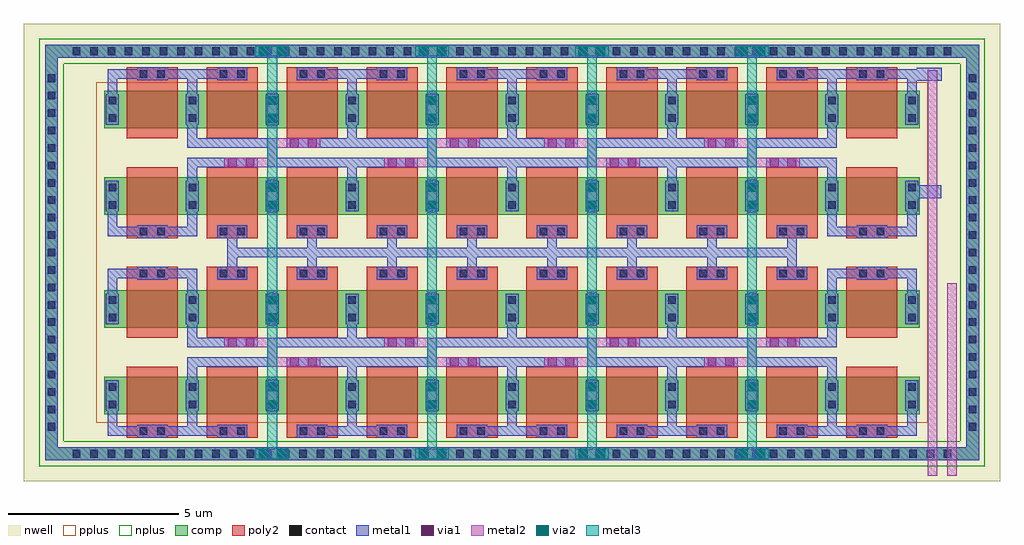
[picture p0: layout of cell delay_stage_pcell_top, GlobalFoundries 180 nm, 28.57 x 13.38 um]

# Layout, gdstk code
from math import pi, radians
import gdstk
lib = gdstk.Library(unit=1e-6, precision=5e-09)
def R(c, l, rs):  # rectangles x0, y0, x1, y1
    for r in rs: c.add(gdstk.rectangle(r[:2], r[2:], *l))
def A(c, l, x, y, w, h, nx, ny, dx, dy):  # array of equal rectangles
    R(c, l, [(x+i*dx, y+j*dy, x+i*dx+w, y+j*dy+h) for i in range(nx) for j in range(ny)])
nwell = (21, 0)
comp = (22, 0)
poly2 = (30, 0)
pplus = (31, 0)
nplus = (32, 0)
contact = (33, 0)
metal1 = (34, 0)
via1 = (35, 0)
metal2 = (36, 0)
via2 = (38, 0)
metal3 = (42, 0)

pfet = lib.new_cell('pfet')

delay_stage_pcell_1_2_1 = lib.new_cell('delay_stage_pcell_1$2$1')
R(delay_stage_pcell_1_2_1, comp, [(0.17,0.3,0.63,1.4), (0.63,0.3,2.51,1.4), (2.51,0.3,2.97,1.4)])
R(delay_stage_pcell_1_2_1, poly2, [(0.82,0,2.32,1.7)])
R(delay_stage_pcell_1_2_1, contact, [(0.29,0.485,0.51,0.705), (2.63,0.485,2.85,0.705), (0.29,0.995,0.51,1.215), (2.63,0.995,2.85,1.215)])
R(delay_stage_pcell_1_2_1, metal1, [(0.21,0.405,0.59,1.295), (2.55,0.405,2.93,1.295)])

delay_stage_pcell_4_2 = lib.new_cell('delay_stage_pcell_4$2')
delay_stage_pcell_4_2.add(gdstk.Reference(delay_stage_pcell_1_2_1, (-0.17,0)))
delay_stage_pcell_4_2.add(gdstk.Reference(delay_stage_pcell_1_2_1, (2.17,0)))
delay_stage_pcell_4_2.add(gdstk.Reference(delay_stage_pcell_1_2_1, (4.51,0)))
delay_stage_pcell_4_2.add(gdstk.Reference(delay_stage_pcell_1_2_1, (6.85,0)))

delay_stage_pcell_4_4 = lib.new_cell('delay_stage_pcell_4_4')
R(delay_stage_pcell_4_4, poly2, [(0.65,0,2.15,0.38), (0.65,0,2.15,0.38), (2.99,0,4.49,0.38), (2.99,0,4.49,0.38), (5.33,0,6.83,0.38), (5.33,0,6.83,0.38), (7.67,0,9.17,0.38), (7.67,0,9.17,0.38), (0.65,4.62,2.15,5), (0.65,4.62,2.15,5), (2.99,4.62,4.49,5), (2.99,4.62,4.49,5), (5.33,4.62,6.83,5), (5.33,4.62,6.83,5), (7.67,4.62,9.17,5), (7.67,4.62,9.17,5), (0.65,5.84,2.15,6.22), (0.65,5.84,2.15,6.22), (2.99,5.84,4.49,6.22), (2.99,5.84,4.49,6.22), (5.33,5.84,6.83,6.22), (5.33,5.84,6.83,6.22), (7.67,5.84,9.17,6.22), (7.67,5.84,9.17,6.22), (0.65,10.46,2.15,10.84), (0.65,10.46,2.15,10.84), (2.99,10.46,4.49,10.84), (2.99,10.46,4.49,10.84), (5.33,10.46,6.83,10.84), (5.33,10.46,6.83,10.84), (7.67,10.46,9.17,10.84), (7.67,10.46,9.17,10.84)])
R(delay_stage_pcell_4_4, contact, [(1.035,0.08,1.255,0.3), (1.035,0.08,1.255,0.3), (1.545,0.08,1.765,0.3), (1.545,0.08,1.765,0.3), (3.375,0.08,3.595,0.3), (3.375,0.08,3.595,0.3), (3.885,0.08,4.105,0.3), (3.885,0.08,4.105,0.3), (5.715,0.08,5.935,0.3), (5.715,0.08,5.935,0.3), (6.225,0.08,6.445,0.3), (6.225,0.08,6.445,0.3), (8.055,0.08,8.275,0.3), (8.055,0.08,8.275,0.3), (8.565,0.08,8.785,0.3), (8.565,0.08,8.785,0.3), (1.035,4.7,1.255,4.92), (1.035,4.7,1.255,4.92), (1.545,4.7,1.765,4.92), (1.545,4.7,1.765,4.92), (3.375,4.7,3.595,4.92), (3.375,4.7,3.595,4.92), (3.885,4.7,4.105,4.92), (3.885,4.7,4.105,4.92), (5.715,4.7,5.935,4.92), (5.715,4.7,5.935,4.92), (6.225,4.7,6.445,4.92), (6.225,4.7,6.445,4.92), (8.055,4.7,8.275,4.92), (8.055,4.7,8.275,4.92), (8.565,4.7,8.785,4.92), (8.565,4.7,8.785,4.92), (1.035,5.92,1.255,6.14), (1.035,5.92,1.255,6.14), (1.545,5.92,1.765,6.14), (1.545,5.92,1.765,6.14), (3.375,5.92,3.595,6.14), (3.375,5.92,3.595,6.14), (3.885,5.92,4.105,6.14), (3.885,5.92,4.105,6.14), (5.715,5.92,5.935,6.14), (5.715,5.92,5.935,6.14), (6.225,5.92,6.445,6.14), (6.225,5.92,6.445,6.14), (8.055,5.92,8.275,6.14), (8.055,5.92,8.275,6.14), (8.565,5.92,8.785,6.14), (8.565,5.92,8.785,6.14), (1.035,10.54,1.255,10.76), (1.035,10.54,1.255,10.76), (1.545,10.54,1.765,10.76), (1.545,10.54,1.765,10.76), (3.375,10.54,3.595,10.76), (3.375,10.54,3.595,10.76), (3.885,10.54,4.105,10.76), (3.885,10.54,4.105,10.76), (5.715,10.54,5.935,10.76), (5.715,10.54,5.935,10.76), (6.225,10.54,6.445,10.76), (6.225,10.54,6.445,10.76), (8.055,10.54,8.275,10.76), (8.055,10.54,8.275,10.76), (8.565,10.54,8.785,10.76), (8.565,10.54,8.785,10.76)])
R(delay_stage_pcell_4_4, metal1, [(0.955,0,1.845,0.38), (3.295,0,4.185,0.38), (3.295,0,4.185,0.38), (5.635,0,6.525,0.38), (5.635,0,6.525,0.38), (7.975,0,8.865,0.38), (0.955,4.62,1.845,5), (0.955,4.62,1.845,5), (3.295,4.62,4.185,5), (3.295,4.62,4.185,5), (5.635,4.62,6.525,5), (5.635,4.62,6.525,5), (7.975,4.62,8.865,5), (0.955,5.84,1.845,6.22), (0.955,5.84,1.845,6.22), (3.295,5.84,4.185,6.22), (3.295,5.84,4.185,6.22), (5.635,5.84,6.525,6.22), (5.635,5.84,6.525,6.22), (7.975,5.84,8.865,6.22), (7.975,5.84,8.865,6.22), (0.955,10.46,1.845,10.84), (3.295,10.46,4.185,10.84), (3.295,10.46,4.185,10.84), (5.635,10.46,6.525,10.84), (5.635,10.46,6.525,10.84), (7.975,10.46,8.865,10.84)])
R(delay_stage_pcell_4_4, via1, [(2.44,0.84,2.7,1.1), (7.12,0.84,7.38,1.1), (2.44,1.36,2.7,1.62), (7.12,1.36,7.38,1.62), (1.27,2.09,1.53,2.35), (1.27,2.09,1.53,2.35), (1.79,2.09,2.05,2.35), (1.79,2.09,2.05,2.35), (5.95,2.09,6.21,2.35), (5.95,2.09,6.21,2.35), (6.47,2.09,6.73,2.35), (6.47,2.09,6.73,2.35), (3.09,2.65,3.35,2.91), (3.09,2.65,3.35,2.91), (3.61,2.65,3.87,2.91), (3.61,2.65,3.87,2.91), (7.77,2.65,8.03,2.91), (7.77,2.65,8.03,2.91), (8.29,2.65,8.55,2.91), (8.29,2.65,8.55,2.91), (2.44,3.38,2.7,3.64), (7.12,3.38,7.38,3.64), (2.44,3.9,2.7,4.16), (7.12,3.9,7.38,4.16), (2.44,6.68,2.7,6.94), (7.12,6.68,7.38,6.94), (2.44,7.2,2.7,7.46), (7.12,7.2,7.38,7.46), (3.09,7.93,3.35,8.19), (3.09,7.93,3.35,8.19), (3.61,7.93,3.87,8.19), (3.61,7.93,3.87,8.19), (7.77,7.93,8.03,8.19), (7.77,7.93,8.03,8.19), (8.29,7.93,8.55,8.19), (8.29,7.93,8.55,8.19), (1.27,8.49,1.53,8.75), (1.27,8.49,1.53,8.75), (1.79,8.49,2.05,8.75), (1.79,8.49,2.05,8.75), (5.95,8.49,6.21,8.75), (5.95,8.49,6.21,8.75), (6.47,8.49,6.73,8.75), (6.47,8.49,6.73,8.75), (2.44,9.22,2.7,9.48), (7.12,9.22,7.38,9.48), (2.44,9.74,2.7,10), (7.12,9.74,7.38,10)])
R(delay_stage_pcell_4_4, via2, [(2.44,0.84,2.7,1.1), (7.12,0.84,7.38,1.1), (2.44,1.36,2.7,1.62), (7.12,1.36,7.38,1.62), (2.44,3.38,2.7,3.64), (7.12,3.38,7.38,3.64), (2.44,3.9,2.7,4.16), (7.12,3.9,7.38,4.16), (2.44,6.68,2.7,6.94), (7.12,6.68,7.38,6.94), (2.44,7.2,2.7,7.46), (7.12,7.2,7.38,7.46), (2.44,9.22,2.7,9.48), (7.12,9.22,7.38,9.48), (2.44,9.74,2.7,10), (7.12,9.74,7.38,10)])
delay_stage_pcell_4_4.add(gdstk.FlexPath([(8.56,5.42),(0.23,5.42)], 0.28, ends="flush", simple_path=True, layer=34, datatype=0))  # metal1
delay_stage_pcell_4_4.add(gdstk.FlexPath([(4.185,10.65),(5.635,10.65)], 0.28, ends="flush", simple_path=True, layer=34, datatype=0))  # metal1
delay_stage_pcell_4_4.add(gdstk.FlexPath([(4.91,10.055),(4.91,10.51)], 0.28, ends="flush", simple_path=True, layer=34, datatype=0))  # metal1
delay_stage_pcell_4_4.add(gdstk.FlexPath([(0.955,10.65),(0.23,10.65),(0.23,10.055)], 0.28, ends="flush", simple_path=True, layer=34, datatype=0))  # metal1
delay_stage_pcell_4_4.add(gdstk.FlexPath([(8.865,10.65),(9.59,10.65),(9.59,10.055)], 0.28, ends="flush", simple_path=True, layer=34, datatype=0))  # metal1
delay_stage_pcell_4_4.add(gdstk.FlexPath([(4.185,0.19),(5.635,0.19)], 0.28, ends="flush", simple_path=True, layer=34, datatype=0))  # metal1
delay_stage_pcell_4_4.add(gdstk.FlexPath([(4.91,0.785),(4.91,0.33)], 0.28, ends="flush", simple_path=True, layer=34, datatype=0))  # metal1
delay_stage_pcell_4_4.add(gdstk.FlexPath([(0.955,0.19),(0.23,0.19),(0.23,0.785)], 0.28, ends="flush", simple_path=True, layer=34, datatype=0))  # metal1
delay_stage_pcell_4_4.add(gdstk.FlexPath([(8.865,0.19),(9.59,0.19),(9.59,0.785)], 0.28, ends="flush", simple_path=True, layer=34, datatype=0))  # metal1
delay_stage_pcell_4_4.add(gdstk.FlexPath([(9.59,1.675),(9.59,2.22),(8.65,2.22)], 0.28, ends="flush", simple_path=True, layer=34, datatype=0))  # metal1
delay_stage_pcell_4_4.add(gdstk.FlexPath([(9.59,1.675),(9.59,2.22),(8.65,2.22)], 0.28, ends="flush", simple_path=True, layer=34, datatype=0))  # metal1
delay_stage_pcell_4_4.add(gdstk.FlexPath([(4.91,1.675),(4.91,2.08)], 0.28, ends="flush", simple_path=True, layer=34, datatype=0))  # metal1
delay_stage_pcell_4_4.add(gdstk.FlexPath([(4.91,1.675),(4.91,2.08)], 0.28, ends="flush", simple_path=True, layer=34, datatype=0))  # metal1
delay_stage_pcell_4_4.add(gdstk.FlexPath([(0.23,1.675),(0.23,2.22),(1.17,2.22)], 0.28, ends="flush", simple_path=True, layer=34, datatype=0))  # metal1
delay_stage_pcell_4_4.add(gdstk.FlexPath([(0.23,1.675),(0.23,2.22),(1.17,2.22)], 0.28, ends="flush", simple_path=True, layer=34, datatype=0))  # metal1
delay_stage_pcell_4_4.add(gdstk.FlexPath([(8.65,2.22),(7.25,2.22),(7.25,2.78),(5.85,2.78)], 0.28, ends="flush", simple_path=True, layer=34, datatype=0))  # metal1
delay_stage_pcell_4_4.add(gdstk.FlexPath([(8.65,2.22),(7.25,2.22),(7.25,2.78),(5.85,2.78)], 0.28, ends="flush", simple_path=True, layer=34, datatype=0))  # metal1
delay_stage_pcell_4_4.add(gdstk.FlexPath([(6.83,2.22),(5.85,2.22)], 0.28, ends="flush", simple_path=True, layer=34, datatype=0))  # metal1
delay_stage_pcell_4_4.add(gdstk.FlexPath([(6.83,2.22),(5.85,2.22)], 0.28, ends="flush", simple_path=True, layer=34, datatype=0))  # metal1
delay_stage_pcell_4_4.add(gdstk.FlexPath([(3.97,2.22),(5.85,2.22)], 0.28, ends="flush", simple_path=True, layer=34, datatype=0))  # metal1
delay_stage_pcell_4_4.add(gdstk.FlexPath([(3.97,2.22),(5.85,2.22)], 0.28, ends="flush", simple_path=True, layer=34, datatype=0))  # metal1
delay_stage_pcell_4_4.add(gdstk.FlexPath([(3.97,2.22),(2.57,2.22),(2.57,2.78),(1.17,2.78)], 0.28, ends="flush", simple_path=True, layer=34, datatype=0))  # metal1
delay_stage_pcell_4_4.add(gdstk.FlexPath([(3.97,2.22),(2.57,2.22),(2.57,2.78),(1.17,2.78)], 0.28, ends="flush", simple_path=True, layer=34, datatype=0))  # metal1
delay_stage_pcell_4_4.add(gdstk.FlexPath([(2.15,2.22),(1.17,2.22)], 0.28, ends="flush", simple_path=True, layer=34, datatype=0))  # metal1
delay_stage_pcell_4_4.add(gdstk.FlexPath([(2.15,2.22),(1.17,2.22)], 0.28, ends="flush", simple_path=True, layer=34, datatype=0))  # metal1
delay_stage_pcell_4_4.add(gdstk.FlexPath([(8.65,2.78),(7.67,2.78)], 0.28, ends="flush", simple_path=True, layer=34, datatype=0))  # metal1
delay_stage_pcell_4_4.add(gdstk.FlexPath([(8.65,2.78),(7.67,2.78)], 0.28, ends="flush", simple_path=True, layer=34, datatype=0))  # metal1
delay_stage_pcell_4_4.add(gdstk.FlexPath([(3.97,2.78),(5.85,2.78)], 0.28, ends="flush", simple_path=True, layer=34, datatype=0))  # metal1
delay_stage_pcell_4_4.add(gdstk.FlexPath([(3.97,2.78),(5.85,2.78)], 0.28, ends="flush", simple_path=True, layer=34, datatype=0))  # metal1
delay_stage_pcell_4_4.add(gdstk.FlexPath([(3.97,2.78),(2.99,2.78)], 0.28, ends="flush", simple_path=True, layer=34, datatype=0))  # metal1
delay_stage_pcell_4_4.add(gdstk.FlexPath([(3.97,2.78),(2.99,2.78)], 0.28, ends="flush", simple_path=True, layer=34, datatype=0))  # metal1
delay_stage_pcell_4_4.add(gdstk.FlexPath([(1.17,2.78),(0.23,2.78),(0.23,3.325)], 0.28, ends="flush", simple_path=True, layer=34, datatype=0))  # metal1
delay_stage_pcell_4_4.add(gdstk.FlexPath([(1.17,2.78),(0.23,2.78),(0.23,3.325)], 0.28, ends="flush", simple_path=True, layer=34, datatype=0))  # metal1
delay_stage_pcell_4_4.add(gdstk.FlexPath([(9.59,3.325),(9.59,2.78),(8.65,2.78)], 0.28, ends="flush", simple_path=True, layer=34, datatype=0))  # metal1
delay_stage_pcell_4_4.add(gdstk.FlexPath([(9.59,3.325),(9.59,2.78),(8.65,2.78)], 0.28, ends="flush", simple_path=True, layer=34, datatype=0))  # metal1
delay_stage_pcell_4_4.add(gdstk.FlexPath([(4.91,3.325),(4.91,2.92)], 0.28, ends="flush", simple_path=True, layer=34, datatype=0))  # metal1
delay_stage_pcell_4_4.add(gdstk.FlexPath([(4.91,3.325),(4.91,2.92)], 0.28, ends="flush", simple_path=True, layer=34, datatype=0))  # metal1
delay_stage_pcell_4_4.add(gdstk.FlexPath([(9.59,7.515),(9.59,8.06),(8.65,8.06)], 0.28, ends="flush", simple_path=True, layer=34, datatype=0))  # metal1
delay_stage_pcell_4_4.add(gdstk.FlexPath([(9.59,9.165),(9.59,8.62),(8.65,8.62)], 0.28, ends="flush", simple_path=True, layer=34, datatype=0))  # metal1
delay_stage_pcell_4_4.add(gdstk.FlexPath([(4.91,9.165),(4.91,8.76)], 0.28, ends="flush", simple_path=True, layer=34, datatype=0))  # metal1
delay_stage_pcell_4_4.add(gdstk.FlexPath([(4.91,7.515),(4.91,7.92)], 0.28, ends="flush", simple_path=True, layer=34, datatype=0))  # metal1
delay_stage_pcell_4_4.add(gdstk.FlexPath([(1.17,8.06),(0.23,8.06),(0.23,7.515)], 0.28, ends="flush", simple_path=True, layer=34, datatype=0))  # metal1
delay_stage_pcell_4_4.add(gdstk.FlexPath([(0.23,9.165),(0.23,8.62),(1.17,8.62)], 0.28, ends="flush", simple_path=True, layer=34, datatype=0))  # metal1
delay_stage_pcell_4_4.add(gdstk.FlexPath([(8.65,8.62),(7.25,8.62),(7.25,8.06),(5.85,8.06)], 0.28, ends="flush", simple_path=True, layer=34, datatype=0))  # metal1
delay_stage_pcell_4_4.add(gdstk.FlexPath([(3.97,8.62),(2.57,8.62),(2.57,8.06),(1.17,8.06)], 0.28, ends="flush", simple_path=True, layer=34, datatype=0))  # metal1
delay_stage_pcell_4_4.add(gdstk.FlexPath([(2.15,8.62),(1.17,8.62)], 0.28, ends="flush", simple_path=True, layer=34, datatype=0))  # metal1
delay_stage_pcell_4_4.add(gdstk.FlexPath([(3.97,8.06),(2.99,8.06)], 0.28, ends="flush", simple_path=True, layer=34, datatype=0))  # metal1
delay_stage_pcell_4_4.add(gdstk.FlexPath([(8.65,8.06),(7.67,8.06)], 0.28, ends="flush", simple_path=True, layer=34, datatype=0))  # metal1
delay_stage_pcell_4_4.add(gdstk.FlexPath([(6.83,8.62),(5.85,8.62)], 0.28, ends="flush", simple_path=True, layer=34, datatype=0))  # metal1
delay_stage_pcell_4_4.add(gdstk.FlexPath([(3.97,8.62),(5.85,8.62)], 0.28, ends="flush", simple_path=True, layer=34, datatype=0))  # metal1
delay_stage_pcell_4_4.add(gdstk.FlexPath([(3.97,8.06),(5.85,8.06)], 0.28, ends="flush", simple_path=True, layer=34, datatype=0))  # metal1
delay_stage_pcell_4_4.add(gdstk.FlexPath([(3.97,8.06),(5.85,8.06)], 0.28, ends="flush", simple_path=True, layer=34, datatype=0))  # metal1
delay_stage_pcell_4_4.add(gdstk.FlexPath([(3.97,8.62),(5.85,8.62)], 0.28, ends="flush", simple_path=True, layer=34, datatype=0))  # metal1
delay_stage_pcell_4_4.add(gdstk.FlexPath([(6.83,8.62),(5.85,8.62)], 0.28, ends="flush", simple_path=True, layer=34, datatype=0))  # metal1
delay_stage_pcell_4_4.add(gdstk.FlexPath([(8.65,8.06),(7.67,8.06)], 0.28, ends="flush", simple_path=True, layer=34, datatype=0))  # metal1
delay_stage_pcell_4_4.add(gdstk.FlexPath([(3.97,8.06),(2.99,8.06)], 0.28, ends="flush", simple_path=True, layer=34, datatype=0))  # metal1
delay_stage_pcell_4_4.add(gdstk.FlexPath([(2.15,8.62),(1.17,8.62)], 0.28, ends="flush", simple_path=True, layer=34, datatype=0))  # metal1
delay_stage_pcell_4_4.add(gdstk.FlexPath([(3.97,8.62),(2.57,8.62),(2.57,8.06),(1.17,8.06)], 0.28, ends="flush", simple_path=True, layer=34, datatype=0))  # metal1
delay_stage_pcell_4_4.add(gdstk.FlexPath([(8.65,8.62),(7.25,8.62),(7.25,8.06),(5.85,8.06)], 0.28, ends="flush", simple_path=True, layer=34, datatype=0))  # metal1
delay_stage_pcell_4_4.add(gdstk.FlexPath([(0.23,9.165),(0.23,8.62),(1.17,8.62)], 0.28, ends="flush", simple_path=True, layer=34, datatype=0))  # metal1
delay_stage_pcell_4_4.add(gdstk.FlexPath([(1.17,8.06),(0.23,8.06),(0.23,7.515)], 0.28, ends="flush", simple_path=True, layer=34, datatype=0))  # metal1
delay_stage_pcell_4_4.add(gdstk.FlexPath([(4.91,7.515),(4.91,7.92)], 0.28, ends="flush", simple_path=True, layer=34, datatype=0))  # metal1
delay_stage_pcell_4_4.add(gdstk.FlexPath([(4.91,9.165),(4.91,8.76)], 0.28, ends="flush", simple_path=True, layer=34, datatype=0))  # metal1
delay_stage_pcell_4_4.add(gdstk.FlexPath([(9.59,9.165),(9.59,8.62),(8.65,8.62)], 0.28, ends="flush", simple_path=True, layer=34, datatype=0))  # metal1
delay_stage_pcell_4_4.add(gdstk.FlexPath([(9.59,7.515),(9.59,8.06),(8.65,8.06)], 0.28, ends="flush", simple_path=True, layer=34, datatype=0))  # metal1
delay_stage_pcell_4_4.add(gdstk.FlexPath([(8.42,5),(8.42,5.28)], 0.28, ends="flush", simple_path=True, layer=34, datatype=0))  # metal1
delay_stage_pcell_4_4.add(gdstk.FlexPath([(8.42,5.84),(8.42,5.56)], 0.28, ends="flush", simple_path=True, layer=34, datatype=0))  # metal1
delay_stage_pcell_4_4.add(gdstk.FlexPath([(6.08,5),(6.08,5.28)], 0.28, ends="flush", simple_path=True, layer=34, datatype=0))  # metal1
delay_stage_pcell_4_4.add(gdstk.FlexPath([(6.08,5.84),(6.08,5.56)], 0.28, ends="flush", simple_path=True, layer=34, datatype=0))  # metal1
delay_stage_pcell_4_4.add(gdstk.FlexPath([(3.74,5),(3.74,5.28)], 0.28, ends="flush", simple_path=True, layer=34, datatype=0))  # metal1
delay_stage_pcell_4_4.add(gdstk.FlexPath([(3.74,5.84),(3.74,5.56)], 0.28, ends="flush", simple_path=True, layer=34, datatype=0))  # metal1
delay_stage_pcell_4_4.add(gdstk.FlexPath([(1.4,5),(1.4,5.28)], 0.28, ends="flush", simple_path=True, layer=34, datatype=0))  # metal1
delay_stage_pcell_4_4.add(gdstk.FlexPath([(1.4,5.84),(1.4,5.56)], 0.28, ends="flush", simple_path=True, layer=34, datatype=0))  # metal1
delay_stage_pcell_4_4.add(gdstk.FlexPath([(8.65,2.78),(7.25,2.78),(7.25,2.22),(5.85,2.22)], 0.28, ends="flush", simple_path=True, layer=36, datatype=0))  # metal2
delay_stage_pcell_4_4.add(gdstk.FlexPath([(8.65,2.78),(7.25,2.78),(7.25,2.22),(5.85,2.22)], 0.28, ends="flush", simple_path=True, layer=36, datatype=0))  # metal2
delay_stage_pcell_4_4.add(gdstk.FlexPath([(3.97,2.78),(2.57,2.78),(2.57,2.22),(1.17,2.22)], 0.28, ends="flush", simple_path=True, layer=36, datatype=0))  # metal2
delay_stage_pcell_4_4.add(gdstk.FlexPath([(3.97,2.78),(2.57,2.78),(2.57,2.22),(1.17,2.22)], 0.28, ends="flush", simple_path=True, layer=36, datatype=0))  # metal2
delay_stage_pcell_4_4.add(gdstk.FlexPath([(3.97,8.06),(2.57,8.06),(2.57,8.62),(1.17,8.62)], 0.28, ends="flush", simple_path=True, layer=36, datatype=0))  # metal2
delay_stage_pcell_4_4.add(gdstk.FlexPath([(8.65,8.06),(7.25,8.06),(7.25,8.62),(5.85,8.62)], 0.28, ends="flush", simple_path=True, layer=36, datatype=0))  # metal2
delay_stage_pcell_4_4.add(gdstk.FlexPath([(8.65,8.06),(7.25,8.06),(7.25,8.62),(5.85,8.62)], 0.28, ends="flush", simple_path=True, layer=36, datatype=0))  # metal2
delay_stage_pcell_4_4.add(gdstk.FlexPath([(3.97,8.06),(2.57,8.06),(2.57,8.62),(1.17,8.62)], 0.28, ends="flush", simple_path=True, layer=36, datatype=0))  # metal2
delay_stage_pcell_4_4.add(gdstk.FlexPath([(7.25,6.58),(7.25,7.56)], 0.28, ends="flush", simple_path=True, layer=36, datatype=0))  # metal2
delay_stage_pcell_4_4.add(gdstk.FlexPath([(7.25,9.12),(7.25,10.1)], 0.28, ends="flush", simple_path=True, layer=36, datatype=0))  # metal2
delay_stage_pcell_4_4.add(gdstk.FlexPath([(2.57,6.58),(2.57,7.56)], 0.28, ends="flush", simple_path=True, layer=36, datatype=0))  # metal2
delay_stage_pcell_4_4.add(gdstk.FlexPath([(7.25,3.28),(7.25,4.26)], 0.28, ends="flush", simple_path=True, layer=36, datatype=0))  # metal2
delay_stage_pcell_4_4.add(gdstk.FlexPath([(2.57,3.28),(2.57,4.26)], 0.28, ends="flush", simple_path=True, layer=36, datatype=0))  # metal2
delay_stage_pcell_4_4.add(gdstk.FlexPath([(7.25,0.74),(7.25,1.72)], 0.28, ends="flush", simple_path=True, layer=36, datatype=0))  # metal2
delay_stage_pcell_4_4.add(gdstk.FlexPath([(2.57,0.74),(2.57,1.72)], 0.28, ends="flush", simple_path=True, layer=36, datatype=0))  # metal2
delay_stage_pcell_4_4.add(gdstk.FlexPath([(2.57,9.12),(2.57,10.1)], 0.28, ends="flush", simple_path=True, layer=36, datatype=0))  # metal2
delay_stage_pcell_4_4.add(gdstk.FlexPath([(7.25,6.58),(7.25,7.56)], 0.28, ends="flush", simple_path=True, layer=42, datatype=0))  # metal3
delay_stage_pcell_4_4.add(gdstk.FlexPath([(7.25,9.12),(7.25,10.1)], 0.28, ends="flush", simple_path=True, layer=42, datatype=0))  # metal3
delay_stage_pcell_4_4.add(gdstk.FlexPath([(2.57,6.58),(2.57,7.56)], 0.28, ends="flush", simple_path=True, layer=42, datatype=0))  # metal3
delay_stage_pcell_4_4.add(gdstk.FlexPath([(7.25,3.28),(7.25,4.26)], 0.28, ends="flush", simple_path=True, layer=42, datatype=0))  # metal3
delay_stage_pcell_4_4.add(gdstk.FlexPath([(2.57,3.28),(2.57,4.26)], 0.28, ends="flush", simple_path=True, layer=42, datatype=0))  # metal3
delay_stage_pcell_4_4.add(gdstk.FlexPath([(7.25,0.74),(7.25,1.72)], 0.28, ends="flush", simple_path=True, layer=42, datatype=0))  # metal3
delay_stage_pcell_4_4.add(gdstk.FlexPath([(2.57,0.74),(2.57,1.72)], 0.28, ends="flush", simple_path=True, layer=42, datatype=0))  # metal3
delay_stage_pcell_4_4.add(gdstk.FlexPath([(2.57,9.12),(2.57,10.1)], 0.28, ends="flush", simple_path=True, layer=42, datatype=0))  # metal3
delay_stage_pcell_4_4.add(gdstk.Reference(delay_stage_pcell_4_2, (9.82,7.92), rotation=pi))
delay_stage_pcell_4_4.add(gdstk.Reference(delay_stage_pcell_4_2, (9.82,2.08), rotation=pi))
delay_stage_pcell_4_4.add(gdstk.Reference(delay_stage_pcell_4_2, (9.82,8.76), rotation=pi, x_reflection=True))
delay_stage_pcell_4_4.add(gdstk.Reference(delay_stage_pcell_4_2, (9.82,2.92), rotation=pi, x_reflection=True))

delay_stage_pcell_1_1 = lib.new_cell('delay_stage_pcell_1$1')
R(delay_stage_pcell_1_1, comp, [(0.17,0.3,0.63,1.4), (0.63,0.3,2.51,1.4), (2.51,0.3,2.97,1.4)])
R(delay_stage_pcell_1_1, poly2, [(0.82,0,2.32,1.7)])
R(delay_stage_pcell_1_1, contact, [(0.29,0.485,0.51,0.705), (2.63,0.485,2.85,0.705), (0.29,0.995,0.51,1.215), (2.63,0.995,2.85,1.215)])
R(delay_stage_pcell_1_1, metal1, [(0.21,0.405,0.59,1.295), (2.55,0.405,2.93,1.295)])

delay_stage_pcell_1_4 = lib.new_cell('delay_stage_pcell_1_4')
R(delay_stage_pcell_1_4, poly2, [(0.65,0,2.15,0.38), (0.65,4.62,2.15,5), (0.65,5.84,2.15,6.22), (0.65,10.46,2.15,10.84)])
R(delay_stage_pcell_1_4, contact, [(1.035,0.08,1.255,0.3), (1.545,0.08,1.765,0.3), (1.035,4.7,1.255,4.92), (1.545,4.7,1.765,4.92), (1.035,5.92,1.255,6.14), (1.545,5.92,1.765,6.14), (1.035,10.54,1.255,10.76), (1.545,10.54,1.765,10.76)])
R(delay_stage_pcell_1_4, metal1, [(0.955,0,1.845,0.38), (0.955,4.62,1.845,5), (0.955,5.84,1.845,6.22), (0.955,10.46,1.845,10.84)])
delay_stage_pcell_1_4.add(gdstk.FlexPath([(2.57,10.055),(2.57,10.65),(0.23,10.65),(0.23,10.055)], 0.28, ends="flush", simple_path=True, layer=34, datatype=0))  # metal1
delay_stage_pcell_1_4.add(gdstk.FlexPath([(2.57,0.785),(2.57,0.19),(0.23,0.19),(0.23,0.785)], 0.28, ends="flush", simple_path=True, layer=34, datatype=0))  # metal1
delay_stage_pcell_1_4.add(gdstk.FlexPath([(2.57,6.625),(2.57,6.03),(0.23,6.03),(0.23,6.625)], 0.28, ends="flush", simple_path=True, layer=34, datatype=0))  # metal1
delay_stage_pcell_1_4.add(gdstk.FlexPath([(2.57,4.215),(2.57,4.81),(0.23,4.81),(0.23,4.215)], 0.28, ends="flush", simple_path=True, layer=34, datatype=0))  # metal1
delay_stage_pcell_1_4.add(gdstk.Reference(delay_stage_pcell_1_1, (-0.17,6.22)))
delay_stage_pcell_1_4.add(gdstk.Reference(delay_stage_pcell_1_1, (-0.17,0.38)))
delay_stage_pcell_1_4.add(gdstk.Reference(delay_stage_pcell_1_1, (-0.17,2.92)))
delay_stage_pcell_1_4.add(gdstk.Reference(delay_stage_pcell_1_1, (-0.17,8.76)))

delay_stage_pcell_top = lib.new_cell('delay_stage_pcell_top')
R(delay_stage_pcell_top, nwell, [(18.27,1.975,46.835,15.355)])
R(delay_stage_pcell_top, pplus, [(20.385,3.685,44.725,13.65)])
A(delay_stage_pcell_top, contact, 19.695, 2.665, 0.22, 0.22, 51, 2, 0.51, 11.78)
A(delay_stage_pcell_top, contact, 18.965, 3.455, 0.22, 0.22, 1, 21, 0, 0.51)
A(delay_stage_pcell_top, contact, 45.925, 3.455, 0.22, 0.22, 1, 21, 0, 0.51)
R(delay_stage_pcell_top, via1, [(25.145,2.645,25.405,2.905), (25.665,2.645,25.925,2.905), (29.825,2.645,30.085,2.905), (30.345,2.645,30.605,2.905), (34.505,2.645,34.765,2.905), (35.025,2.645,35.285,2.905), (39.185,2.645,39.445,2.905), (39.705,2.645,39.965,2.905), (25.145,14.425,25.405,14.685), (25.665,14.425,25.925,14.685), (29.825,14.425,30.085,14.685), (30.345,14.425,30.605,14.685), (34.505,14.425,34.765,14.685), (35.025,14.425,35.285,14.685), (39.185,14.425,39.445,14.685), (39.705,14.425,39.965,14.685)])
R(delay_stage_pcell_top, via2, [(25.145,2.645,25.405,2.905), (25.665,2.645,25.925,2.905), (29.825,2.645,30.085,2.905), (30.345,2.645,30.605,2.905), (34.505,2.645,34.765,2.905), (35.025,2.645,35.285,2.905), (39.185,2.645,39.445,2.905), (39.705,2.645,39.965,2.905), (25.145,14.425,25.405,14.685), (25.665,14.425,25.925,14.685), (29.825,14.425,30.085,14.685), (30.345,14.425,30.605,14.685), (34.505,14.425,34.765,14.685), (35.025,14.425,35.285,14.685), (39.185,14.425,39.445,14.685), (39.705,14.425,39.965,14.685)])
delay_stage_pcell_top.add(gdstk.FlexPath([(46.035,14.745),(46.035,2.775),(19.075,2.775),(19.075,14.555),(45.845,14.555)], 0.38, ends="flush", simple_path=True, layer=34, datatype=0))  # metal1
delay_stage_pcell_top.add(gdstk.FlexPath([(44.395,13.88),(45.125,13.88)], 0.38, ends="flush", simple_path=True, layer=34, datatype=0))  # metal1
delay_stage_pcell_top.add(gdstk.FlexPath([(44.445,10.45),(45.115,10.45)], 0.38, ends="flush", simple_path=True, layer=34, datatype=0))  # metal1
delay_stage_pcell_top.add(gdstk.FlexPath([(46.035,14.745),(46.035,2.775),(19.075,2.775),(19.075,14.555),(45.845,14.555)], 0.38, ends="flush", simple_path=True, layer=22, datatype=0))  # comp
delay_stage_pcell_top.add(gdstk.FlexPath([(44.865,2.125),(44.865,14.005)], 0.28, ends="flush", simple_path=True, layer=36, datatype=0))  # metal2
delay_stage_pcell_top.add(gdstk.FlexPath([(45.425,2.125),(45.425,7.77)], 0.28, ends="flush", simple_path=True, layer=36, datatype=0))  # metal2
delay_stage_pcell_top.add(gdstk.FlexPath([(39.085,2.775),(40.065,2.775)], 0.28, ends="flush", simple_path=True, layer=36, datatype=0))  # metal2
delay_stage_pcell_top.add(gdstk.FlexPath([(39.085,14.555),(40.065,14.555)], 0.28, ends="flush", simple_path=True, layer=36, datatype=0))  # metal2
delay_stage_pcell_top.add(gdstk.FlexPath([(34.405,2.775),(35.385,2.775)], 0.28, ends="flush", simple_path=True, layer=36, datatype=0))  # metal2
delay_stage_pcell_top.add(gdstk.FlexPath([(34.405,14.555),(35.385,14.555)], 0.28, ends="flush", simple_path=True, layer=36, datatype=0))  # metal2
delay_stage_pcell_top.add(gdstk.FlexPath([(29.725,2.775),(30.705,2.775)], 0.28, ends="flush", simple_path=True, layer=36, datatype=0))  # metal2
delay_stage_pcell_top.add(gdstk.FlexPath([(29.725,14.555),(30.705,14.555)], 0.28, ends="flush", simple_path=True, layer=36, datatype=0))  # metal2
delay_stage_pcell_top.add(gdstk.FlexPath([(25.045,2.775),(26.025,2.775)], 0.28, ends="flush", simple_path=True, layer=36, datatype=0))  # metal2
delay_stage_pcell_top.add(gdstk.FlexPath([(25.045,14.555),(26.025,14.555)], 0.28, ends="flush", simple_path=True, layer=36, datatype=0))  # metal2
delay_stage_pcell_top.add(gdstk.FlexPath([(46.035,14.915),(46.035,2.775),(19.075,2.775),(19.075,14.555),(45.845,14.555)], 0.72, ends="flush", simple_path=True, layer=32, datatype=0))  # nplus
delay_stage_pcell_top.add(gdstk.FlexPath([(39.575,14.415),(39.575,2.915)], 0.28, ends="flush", simple_path=True, layer=42, datatype=0))  # metal3
delay_stage_pcell_top.add(gdstk.FlexPath([(39.085,2.775),(40.065,2.775)], 0.28, ends="flush", simple_path=True, layer=42, datatype=0))  # metal3
delay_stage_pcell_top.add(gdstk.FlexPath([(39.085,14.555),(40.065,14.555)], 0.28, ends="flush", simple_path=True, layer=42, datatype=0))  # metal3
delay_stage_pcell_top.add(gdstk.FlexPath([(34.895,14.415),(34.895,2.915)], 0.28, ends="flush", simple_path=True, layer=42, datatype=0))  # metal3
delay_stage_pcell_top.add(gdstk.FlexPath([(34.405,2.775),(35.385,2.775)], 0.28, ends="flush", simple_path=True, layer=42, datatype=0))  # metal3
delay_stage_pcell_top.add(gdstk.FlexPath([(34.405,14.555),(35.385,14.555)], 0.28, ends="flush", simple_path=True, layer=42, datatype=0))  # metal3
delay_stage_pcell_top.add(gdstk.FlexPath([(30.215,14.415),(30.215,2.915)], 0.28, ends="flush", simple_path=True, layer=42, datatype=0))  # metal3
delay_stage_pcell_top.add(gdstk.FlexPath([(29.725,2.775),(30.705,2.775)], 0.28, ends="flush", simple_path=True, layer=42, datatype=0))  # metal3
delay_stage_pcell_top.add(gdstk.FlexPath([(29.725,14.555),(30.705,14.555)], 0.28, ends="flush", simple_path=True, layer=42, datatype=0))  # metal3
delay_stage_pcell_top.add(gdstk.FlexPath([(25.535,14.415),(25.535,2.915)], 0.28, ends="flush", simple_path=True, layer=42, datatype=0))  # metal3
delay_stage_pcell_top.add(gdstk.FlexPath([(25.045,2.775),(26.025,2.775)], 0.28, ends="flush", simple_path=True, layer=42, datatype=0))  # metal3
delay_stage_pcell_top.add(gdstk.FlexPath([(25.045,14.555),(26.025,14.555)], 0.28, ends="flush", simple_path=True, layer=42, datatype=0))  # metal3
delay_stage_pcell_top.add(gdstk.Reference(pfet, (15.5,13.74)))
delay_stage_pcell_top.add(gdstk.Reference(delay_stage_pcell_4_4, (32.785,3.245), rotation=pi, x_reflection=True))
delay_stage_pcell_top.add(gdstk.Reference(delay_stage_pcell_4_4, (32.325,3.245)))
delay_stage_pcell_top.add(gdstk.Reference(delay_stage_pcell_1_4, (44.485,3.245), rotation=pi, x_reflection=True))
delay_stage_pcell_top.add(gdstk.Reference(delay_stage_pcell_1_4, (23.425,3.245), rotation=pi, x_reflection=True))

lib.write_gds('delay_stage_pcell_top.gds')
